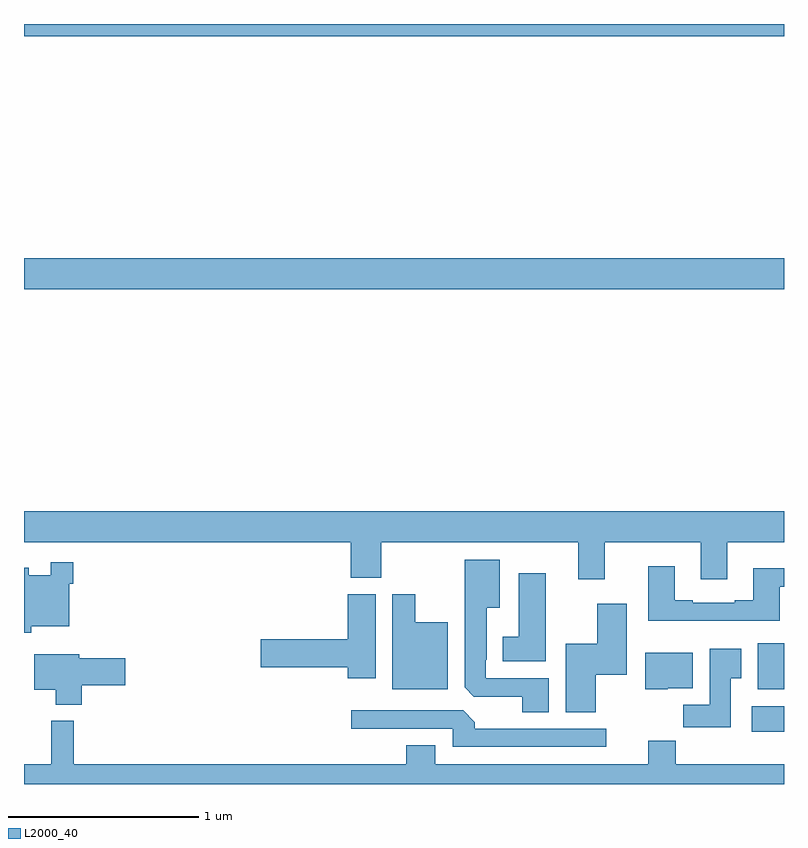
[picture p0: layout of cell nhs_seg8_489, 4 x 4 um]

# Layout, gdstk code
import gdstk
lib = gdstk.Library(unit=1e-6, precision=1e-09)
def R(c, l, rs):  # rectangles x0, y0, x1, y1
    for r in rs: c.add(gdstk.rectangle(r[:2], r[2:], *l))
def P(c, l, *ps):  # polygons
    for p in ps: c.add(gdstk.Polygon(p, *l))
L2000_40 = (2000, 40)

nhs_seg8_489 = lib.new_cell('nhs_seg8_489')
R(nhs_seg8_489, L2000_40, [(146.829,1110.176,147,1110.31), (146.861,1110.398,147,1110.64), (143,1112.504,147,1112.668), (143,1113.836,147,1113.9)])
P(nhs_seg8_489, L2000_40, [(146.056,1111.172),(146.561,1111.172),(146.561,1110.978),(146.701,1110.978),(146.701,1111.172),(147,1111.172),(147,1111.336),(143,1111.336),(143,1111.172),(144.719,1111.172),(144.719,1110.985),(144.879,1110.985),(144.879,1111.172),(145.916,1111.172),(145.916,1110.978),(146.056,1110.978)],
  [(145.762,1110.456),(145.431,1110.456),(145.431,1110.553),(145.435,1110.553),(145.435,1110.827),(145.504,1110.827),(145.504,1111.081),(145.319,1111.081),(145.319,1110.409),(145.368,1110.36),(145.622,1110.36),(145.622,1110.277),(145.762,1110.277)],
  [(143.039,1110.731),(143.238,1110.731),(143.238,1110.953),(143.258,1110.953),(143.258,1111.066),(143.142,1111.066),(143.142,1111),(143.026,1111),(143.026,1111.039),(143,1111.039),(143,1110.695),(143.039,1110.695)],
  [(146.977,1110.939),(147,1110.939),(147,1111.036),(146.837,1111.036),(146.837,1110.868),(146.741,1110.868),(146.741,1110.855),(146.521,1110.855),(146.521,1110.868),(146.425,1110.868),(146.425,1111.045),(146.285,1111.045),(146.285,1110.758),(146.977,1110.758)],
  [(145.747,1111.009),(145.604,1111.009),(145.604,1110.676),(145.52,1110.676),(145.52,1110.545),(145.747,1110.545)],
  [(144.85,1110.9),(144.704,1110.9),(144.704,1110.662),(144.246,1110.662),(144.246,1110.515),(144.704,1110.515),(144.704,1110.456),(144.85,1110.456)],
  [(145.231,1110.751),(145.06,1110.751),(145.06,1110.898),(144.938,1110.898),(144.938,1110.398),(145.231,1110.398)],
  [(146.008,1110.476),(146.173,1110.476),(146.173,1110.85),(146.018,1110.85),(146.018,1110.639),(145.85,1110.639),(145.85,1110.277),(146.008,1110.277)],
  [(146.719,1110.457),(146.776,1110.457),(146.776,1110.613),(146.609,1110.613),(146.609,1110.316),(146.47,1110.316),(146.47,1110.198),(146.719,1110.198)],
  [(146.388,1110.404),(146.521,1110.404),(146.521,1110.592),(146.27,1110.592),(146.27,1110.398),(146.388,1110.398)],
  [(143.303,1110.421),(143.533,1110.421),(143.533,1110.563),(143.29,1110.563),(143.29,1110.583),(143.054,1110.583),(143.054,1110.395),(143.168,1110.395),(143.168,1110.317),(143.303,1110.317)],
  [(146.065,1110.192),(145.373,1110.192),(145.373,1110.226),(145.311,1110.288),(144.723,1110.288),(144.723,1110.192),(145.257,1110.192),(145.257,1110.096),(146.065,1110.096)],
  [(147,1110.004),(146.429,1110.004),(146.429,1110.128),(146.285,1110.128),(146.285,1110.004),(145.165,1110.004),(145.165,1110.103),(145.013,1110.103),(145.013,1110.004),(143.261,1110.004),(143.261,1110.232),(143.144,1110.232),(143.144,1110.004),(143,1110.004),(143,1109.9),(147,1109.9)])

lib.write_gds('nhs_seg8_489.gds')
